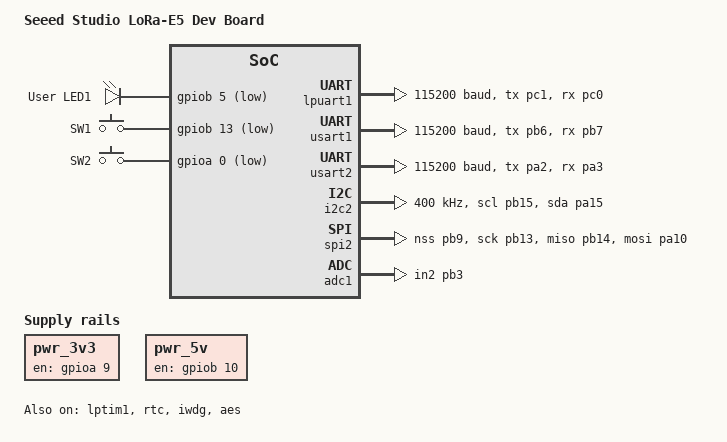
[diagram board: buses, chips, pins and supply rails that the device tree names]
/*
 * Copyright (c) 2021 Thomas Stranger
 *
 * SPDX-License-Identifier: Apache-2.0
 */

/dts-v1/;
#include <seeed_studio/lora-e5.dtsi>
#include <zephyr/dt-bindings/input/input-event-codes.h>

/ {
	model = "Seeed Studio LoRa-E5 Dev Board";
	compatible = "seeed,lora-e5-dev-board";

	chosen {
		zephyr,console = &usart1;
		zephyr,shell-uart = &usart1;
		zephyr,sram = &sram0;
		zephyr,flash = &flash0;
		zephyr,code-partition = &slot0_partition;
	};

	leds {
		compatible = "gpio-leds";
		red_led_1: led_0 {
			gpios = <&gpiob 5 GPIO_ACTIVE_LOW>;
			label = "User LED1";
			/* the led can be disconnected, using J16 (D5) */
		};
	};

	gpio_keys {
		compatible = "gpio-keys";
		boot_button: button_0 {
			label = "SW1";
			gpios = <&gpiob 13 (GPIO_ACTIVE_LOW | GPIO_PULL_UP)>;
			zephyr,code = <INPUT_KEY_0>;
		};

		user_button: button_1 {
			label = "SW2";
			gpios = <&gpioa 0 (GPIO_ACTIVE_LOW | GPIO_PULL_UP)>;
			/* user_button can be disconnected, using J14 (D0) */
			zephyr,code = <INPUT_KEY_1>;
		};
	};

	aliases {
		led0 = &red_led_1;
		sw0 = &boot_button;
		sw1 = &user_button;
		lora0 = &lora;
		watchdog0 = &iwdg;
	};

	pwr_3v3: pwr-3v3-ctrl {
		/*
		 * PWR rail for SPI-flash, Temp-Sensor, RS-485 Transceiver,
		 * and for external devices(Grove, header).
		 * Requires closed J15 (D9)
		 */
		compatible = "regulator-fixed";
		regulator-name = "pwr-3v3-ctrl";
		enable-gpios = <&gpioa 9 GPIO_ACTIVE_HIGH>;
		regulator-boot-on;
		status = "okay";
	};

	pwr_5v: pwr-5v-ctrl {
		/*
		 * Available for external devices on header J2
		 * Requires closed J6 (D10)
		 */
		compatible = "regulator-fixed";
		regulator-name = "pwr-5v-ctrl";
		enable-gpios = <&gpiob 10 GPIO_ACTIVE_HIGH>;
		regulator-boot-on;
		status = "okay";
	};
};

stm32_lp_tick_source: &lptim1 {
	status = "okay";
	clocks = <&rcc STM32_CLOCK_BUS_APB1 0x80000000>,
		 <&rcc STM32_SRC_LSI LPTIM1_SEL(1)>;
};

&clk_lsi {
	status = "okay";
};

&clk_msi {
	status = "okay";
	msi-range = <11>;
};

&rcc {
	clocks = <&clk_msi>;
	clock-frequency = <DT_FREQ_M(48)>;
	cpu1-prescaler = <1>;
	ahb3-prescaler = <1>;
	apb1-prescaler = <1>;
	apb2-prescaler = <1>;
};

&lpuart1 {
	pinctrl-0 = <&lpuart1_tx_pc1 &lpuart1_rx_pc0>;
	pinctrl-names = "default";
	current-speed = <115200>;
	status = "okay";
};

&usart1 {
	pinctrl-0 = <&usart1_tx_pb6 &usart1_rx_pb7>;
	pinctrl-names = "default";
	current-speed = <115200>;
	status = "okay";
};

&usart2 {
	pinctrl-0 = <&usart2_tx_pa2 &usart2_rx_pa3>;
	pinctrl-names = "default";
	current-speed = <115200>;
	status = "okay";
	/* PB4 can select RS-485 TX, when J17 (A4) is closed */
};

&i2c2 {
	pinctrl-0 = <&i2c2_scl_pb15 &i2c2_sda_pa15>;
	pinctrl-names = "default";
	status = "okay";
	clock-frequency = <I2C_BITRATE_FAST>;

	/* LM75ADP temperature sensor on addr 0x48 */
};

/* Attention!: the spi-sck pin is in conflict with the boot_button on pb13 */
&spi2 {
	pinctrl-0 = <&spi2_nss_pb9 &spi2_sck_pb13
		     &spi2_miso_pb14 &spi2_mosi_pa10>;
	pinctrl-names = "default";
	status = "okay";

	/* unpopulated footprint for spi flash */
};

&rtc {
	clocks = <&rcc STM32_CLOCK_BUS_APB1 0x00000400>,
		 <&rcc STM32_SRC_LSI RTC_SEL(2)>;
	status = "okay";
};

&iwdg {
	status = "okay";
};

&adc1 {
	pinctrl-0 = <&adc_in2_pb3>;
	pinctrl-names = "default";
	st,adc-clock-source = "SYNC";
	st,adc-prescaler = <4>;
	status = "okay";
};

&aes {
	status = "okay";
};

/* connectors: */
grove_serial: &usart1 {};
grove_i2c: &i2c2 {};

&flash0 {
	partitions {
		compatible = "fixed-partitions";
		#address-cells = <1>;
		#size-cells = <1>;

		boot_partition: partition@0 {
			label = "mcuboot";
			reg = <0x00000000 DT_SIZE_K(32)>;
			read-only;
		};
		slot0_partition: partition@8000 {
			label = "image-0";
			reg = <0x00008000 DT_SIZE_K(104)>;
		};
		slot1_partition: partition@22000 {
			label = "image-1";
			reg = <0x00022000 DT_SIZE_K(104)>;
		};
		/* 16KB (8x2kB pages) of storage at the end of the flash */
		storage_partition: partition@3c000 {
			label = "storage";
			reg = <0x0003c000 DT_SIZE_K(16)>;
		};
	};
};

/*
 * Other Pins:
 * Not assigned:  None
 * Debug:         PA13(swdio), PA14(swclk)
 */
